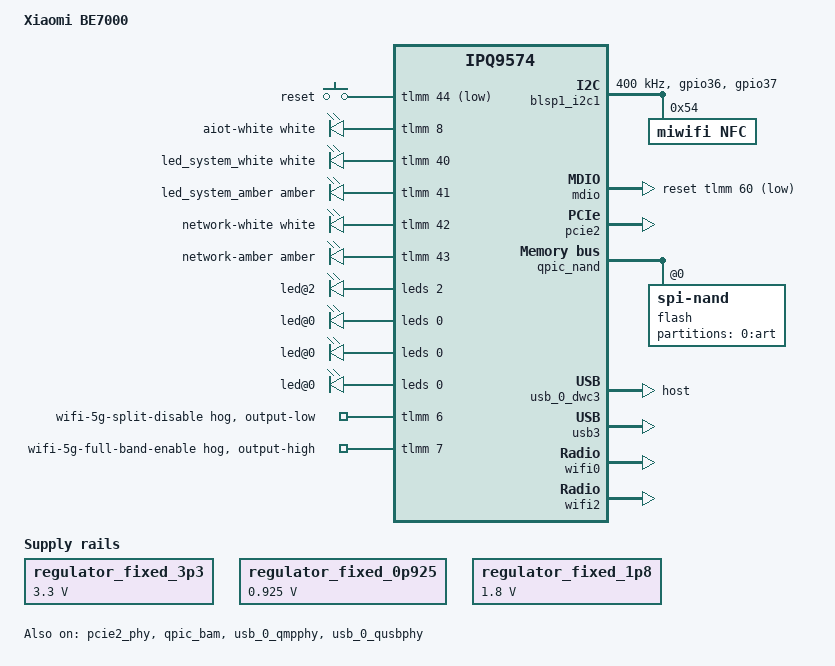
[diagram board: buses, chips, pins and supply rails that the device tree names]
// SPDX-License-Identifier: (GPL-2.0+ OR BSD-3-Clause)

/dts-v1/;

#include "ipq9574-common.dtsi"
#include "ipq9574-common-wifi-ahb.dtsi"
#include "ipq9574-common-qca8084.dtsi"

/ {
	model = "Xiaomi BE7000";
	compatible = "xiaomi,be7000", "qcom,ipq9574";

	aliases {
		label-mac-device = &ppe_port1;

		led-boot = &led_system_amber;
		led-failsafe = &led_system_amber;
		led-running = &led_system_white;
		led-upgrade = &led_system_white;
	};

	chosen {
		bootargs-append = " root=/dev/ubiblock0_1";
	};

	regulator_fixed_3p3: s3300 {
		compatible = "regulator-fixed";
		regulator-min-microvolt = <3300000>;
		regulator-max-microvolt = <3300000>;
		regulator-boot-on;
		regulator-always-on;
		regulator-name = "fixed_3p3";
	};

	regulator_fixed_0p925: s0925 {
		compatible = "regulator-fixed";
		regulator-min-microvolt = <925000>;
		regulator-max-microvolt = <925000>;
		regulator-boot-on;
		regulator-always-on;
		regulator-name = "fixed_0p925";
	};

	regulator_fixed_1p8: s1800 {
		compatible = "regulator-fixed";
		regulator-min-microvolt = <1800000>;
		regulator-max-microvolt = <1800000>;
		regulator-boot-on;
		regulator-always-on;
		regulator-name = "fixed_1p8";
	};

	gpio-keys {
		compatible = "gpio-keys";
		pinctrl-0 = <&gpio_keys_default>;
		pinctrl-names = "default";

		reset {
			label = "reset";
			linux,code = <KEY_RESTART>;
			gpios = <&tlmm 44 GPIO_ACTIVE_LOW>;
			linux,input-type = <EV_KEY>;
			debounce-interval = <60>;
		};
	};

	leds {
		compatible = "gpio-leds";
		pinctrl-0 = <&gpio_leds_default>;
		pinctrl-names = "default";

		aiot-white {
			function = "aiot";
			color = <LED_COLOR_ID_WHITE>;
			gpios = <&tlmm 8 GPIO_ACTIVE_HIGH>;
			default-state = "off";
		};

		led_system_white: system-white {
			function = "system";
			color = <LED_COLOR_ID_WHITE>;
			gpios = <&tlmm 40 GPIO_ACTIVE_HIGH>;
			default-state = "off";
		};

		led_system_amber: system-amber {
			function = "system";
			color = <LED_COLOR_ID_AMBER>;
			gpios = <&tlmm 41 GPIO_ACTIVE_HIGH>;
			default-state = "off";
		};

		network-white {
			function = "network";
			color = <LED_COLOR_ID_WHITE>;
			gpios = <&tlmm 42 GPIO_ACTIVE_HIGH>;
			default-state = "off";
		};

		network-amber {
			function = "network";
			color = <LED_COLOR_ID_AMBER>;
			gpios = <&tlmm 43 GPIO_ACTIVE_HIGH>;
			default-state = "off";
		};
	};
};

&blsp1_i2c1 {
	clock-frequency = <400000>;
	pinctrl-0 = <&i2c1_pins>;
	pinctrl-names = "default";
	status = "okay";

	nfc: nfc@54 {
		compatible = "miwifi,nfc";
		reg = <0x54>;
	};
};

&mdio {
	status = "okay";
	clock-frequency = <6250000>;
	reset-gpios = <&tlmm 60 GPIO_ACTIVE_LOW>;
	pinctrl-0 = <&mdio_pins>;
	pinctrl-names = "default";
};

&pcie2 {
	perst-gpios = <&tlmm 29 GPIO_ACTIVE_LOW>;
	wake-gpios = <&tlmm 30 GPIO_ACTIVE_LOW>;
	status = "okay";
};

&pcie2_phy {
	status = "okay";
};

&pcs1 {
	status = "disabled";
};

&pcs2 {
	status = "disabled";
};

&ppe_port1 {
	label = "wan";
	nvmem-cells = <&macaddr_art_0 0>;
	nvmem-cell-names = "mac-address";
};

&ppe_port2 {
	label = "lan1";
	nvmem-cells = <&macaddr_art_0 1>;
	nvmem-cell-names = "mac-address";
};

&ppe_port3 {
	label = "lan2";
	nvmem-cells = <&macaddr_art_0 1>;
	nvmem-cell-names = "mac-address";
};

&ppe_port4 {
	label = "lan3";
	nvmem-cells = <&macaddr_art_0 1>;
	nvmem-cell-names = "mac-address";
};

&qca8084_phy1 {
	leds {
		#address-cells = <1>;
		#size-cells = <0>;

		led@2 {
			reg = <2>;
			color = <LED_COLOR_ID_GREEN>;
			function = LED_FUNCTION_WAN;
			active-high;
		};
	};
};

&qca8084_phy2 {
	leds {
		#address-cells = <1>;
		#size-cells = <0>;

		led@0 {
			reg = <0>;
			color = <LED_COLOR_ID_GREEN>;
			function = LED_FUNCTION_LAN;
			function-enumerator = <1>;
			active-high;
		};
	};
};

&qca8084_phy3 {
	leds {
		#address-cells = <1>;
		#size-cells = <0>;

		led@0 {
			reg = <0>;
			color = <LED_COLOR_ID_GREEN>;
			function = LED_FUNCTION_LAN;
			function-enumerator = <2>;
			active-high;
		};
	};
};

&qca8084_phy4 {
	leds {
		#address-cells = <1>;
		#size-cells = <0>;

		led@0 {
			reg = <0>;
			color = <LED_COLOR_ID_GREEN>;
			function = LED_FUNCTION_LAN;
			function-enumerator = <3>;
			active-high;
		};
	};
};

&qpic_bam {
	status = "okay";
};

&qpic_nand {
	pinctrl-0 = <&qpic_snand_default_state>;
	pinctrl-names = "default";
	status = "okay";

	flash@0 {
		reg = <0>;
		compatible = "spi-nand";
		nand-ecc-strength = <8>;
		nand-ecc-step-size = <512>;
		nand-bus-width = <0x08>;
		nand-ecc-engine = <&qpic_nand>;
		partitions {
			compatible = "qcom,smem-part";

			partition-0-art {
				label = "0:art";
				read-only;

				nvmem-layout {
					compatible = "fixed-layout";
					#address-cells = <1>;
					#size-cells = <1>;

					caldata_art_1000: calibration@1000 {
						reg = <0x1000 0x20000>;
					};

					macaddr_art_0: macaddr@0 {
						compatible = "mac-base";
						reg = <0x0 0x6>;
						#nvmem-cell-cells = <1>;
					};

					macaddr_art_6: macaddr@6 {
						compatible = "mac-base";
						reg = <0x6 0x6>;
						#nvmem-cell-cells = <1>;
					};

					macaddr_art_c: macaddr@c {
						compatible = "mac-base";
						reg = <0xc 0x6>;
						#nvmem-cell-cells = <1>;
					};
				};
			};
		};
	};
};

&tlmm {
	wifi-5g-split-disable {
		gpio-hog;
		gpios = <6 GPIO_ACTIVE_HIGH>;
		output-low;
		line-name = "wifi-5g-split-disable";
	};

	wifi-5g-full-band-enable {
		gpio-hog;
		gpios = <7 GPIO_ACTIVE_HIGH>;
		output-high;
		line-name = "wifi-5g-full-band-enable";
	};

	i2c1_pins: i2c1-state {
		pins = "gpio36", "gpio37";
		function = "blsp1_i2c";
		drive-strength = <8>;
		bias-disable;
	};

	gpio_keys_default: gpio-keys-default-state {
		pins = "gpio44";
		function = "gpio";
		drive-strength = <8>;
		bias-pull-up;
	};

	gpio_leds_default: gpio-leds-default-state {
		pins = "gpio8", "gpio40", "gpio41", "gpio42", "gpio43";
		function = "gpio";
		drive-strength = <8>;
		bias-pull-down;
	};
};

&usb_0_dwc3 {
	dr_mode = "host";
};

&usb_0_qmpphy {
	vdda-pll-supply = <&regulator_fixed_1p8>;
	vdda-phy-supply = <&regulator_fixed_0p925>;

	status = "okay";
};

&usb_0_qusbphy {
	vdd-supply = <&regulator_fixed_0p925>;
	vdda-pll-supply = <&regulator_fixed_1p8>;
	vdda-phy-dpdm-supply = <&regulator_fixed_3p3>;

	status = "okay";
};

&usb3 {
	status = "okay";
};

&wifi0 {
	qcom,calibration-variant = "Xiaomi-BE7000";
	nvmem-cells = <&macaddr_art_6 0>, <&caldata_art_1000>;
	nvmem-cell-names = "mac-address", "calibration";
};

&wifi2 {
	compatible = "pci17cb,1109";
	qcom,num-radios = <1>;
	qcom,ath12k-fw-memory-mode = <1>;
	qcom,board-id = <2>;
	qcom,force-unique-qrtr-id;
	qcom,calibration-variant = "Xiaomi-BE7000";
	nvmem-cells = <&macaddr_art_c 0>;
	nvmem-cell-names = "mac-address";
};
